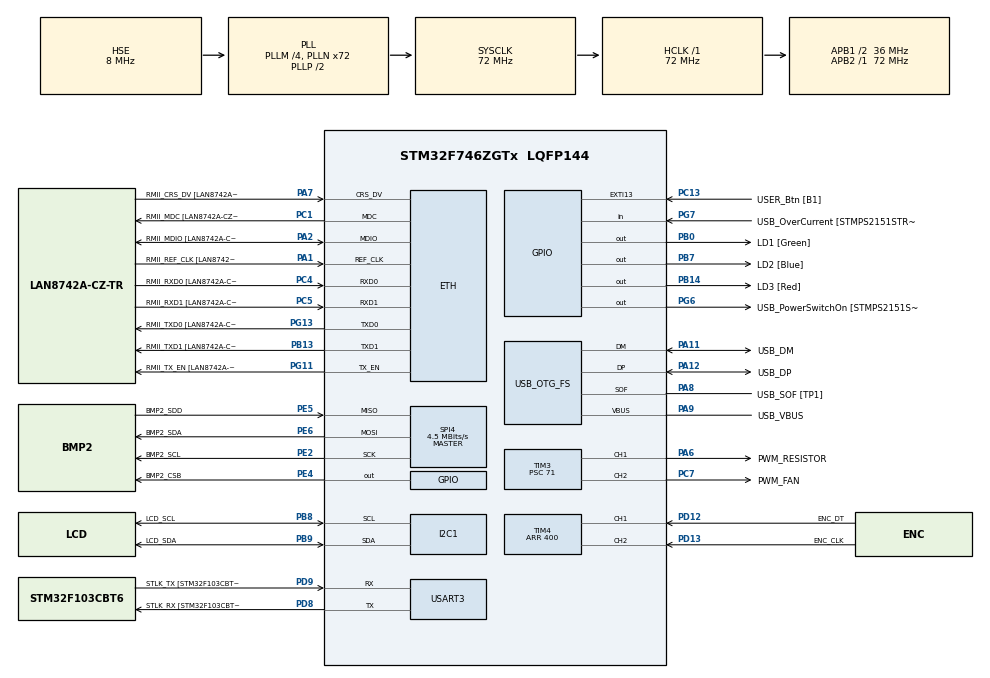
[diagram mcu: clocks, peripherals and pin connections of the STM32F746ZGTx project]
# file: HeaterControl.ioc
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ETH.MediaInterface=HAL_ETH_RMII_MODE
ETH.PHY_Name=LAN8742A_PHY_ADDRESS
ETH.PHY_Value=0
ETH.PhyAddress=0
I2C1.Timing=0x00808CD2
Mcu.Family=STM32F7
Mcu.Name=STM32F746ZGTx
Mcu.Package=LQFP144
NVIC.PriorityGroup=NVIC_PRIORITYGROUP_4
NVIC.TIM2_IRQn=true\:0\:0\:false\:false\:true\:true\:true\:true
NVIC.TIM4_IRQn=true\:0\:0\:false\:false\:true\:true\:true\:true
NVIC.TIM5_IRQn=true\:0\:0\:false\:false\:true\:true\:true\:true
NVIC.USART3_IRQn=true\:0\:0\:false\:false\:true\:true\:true\:true
PA1.GPIO_Label=RMII_REF_CLK [LAN8742A-CZ-TR_REFCLK0]
PA1.Mode=RMII
PA1.Signal=ETH_REF_CLK
PA10.GPIO_Label=USB_ID
PA10.Signal=USB_OTG_FS_ID
PA11.GPIO_Label=USB_DM
PA11.Mode=Device_Only
PA11.Signal=USB_OTG_FS_DM
PA12.GPIO_Label=USB_DP
PA12.Mode=Device_Only
PA12.Signal=USB_OTG_FS_DP
PA13.GPIO_Label=TMS
PA13.Mode=Serial_Wire
PA13.Signal=SYS_JTMS-SWDIO
PA14.GPIO_Label=TCK
PA14.Mode=Serial_Wire
PA14.Signal=SYS_JTCK-SWCLK
PA2.GPIO_Label=RMII_MDIO [LAN8742A-CZ-TR_MDIO]
PA2.Mode=RMII
PA2.Signal=ETH_MDIO
PA6.GPIO_Label=PWM_RESISTOR
PA6.Signal=S_TIM3_CH1
PA7.GPIO_Label=RMII_CRS_DV [LAN8742A-CZ-TR_CRS_DV]
PA7.Mode=RMII
PA7.Signal=ETH_CRS_DV
PA8.GPIO_Label=USB_SOF [TP1]
PA8.Mode=Activate_SOF_FS
PA8.Signal=USB_OTG_FS_SOF
PA9.GPIO_Label=USB_VBUS
PA9.Mode=Activate_VBUS
PA9.Signal=USB_OTG_FS_VBUS
PB0.GPIO_Label=LD1 [Green]
PB0.Signal=GPIO_Output
PB13.GPIO_Label=RMII_TXD1 [LAN8742A-CZ-TR_TXD1]
PB13.Mode=RMII
PB13.Signal=ETH_TXD1
PB14.GPIO_Label=LD3 [Red]
PB14.Signal=GPIO_Output
PB3.GPIO_Label=SW0
PB3.Signal=SYS_JTDO-SWO
PB7.GPIO_Label=LD2 [Blue]
PB7.Signal=GPIO_Output
PB8.GPIO_Label=LCD_SCL
PB8.Mode=I2C
PB8.Signal=I2C1_SCL
PB9.GPIO_Label=LCD_SDA
PB9.Mode=I2C
PB9.Signal=I2C1_SDA
PC1.GPIO_Label=RMII_MDC [LAN8742A-CZ-TR_MDC]
PC1.Mode=RMII
PC1.Signal=ETH_MDC
PC13.GPIO_Label=USER_Btn [B1]
PC13.Signal=GPXTI13
PC14/OSC32_IN.Mode=LSE-External-Oscillator
PC14/OSC32_IN.Signal=RCC_OSC32_IN
PC15/OSC32_OUT.Mode=LSE-External-Oscillator
PC15/OSC32_OUT.Signal=RCC_OSC32_OUT
PC4.GPIO_Label=RMII_RXD0 [LAN8742A-CZ-TR_RXD0]
PC4.Mode=RMII
PC4.Signal=ETH_RXD0
PC5.GPIO_Label=RMII_RXD1 [LAN8742A-CZ-TR_RXD1]
PC5.Mode=RMII
PC5.Signal=ETH_RXD1
PC7.GPIO_Label=PWM_FAN
PC7.Signal=S_TIM3_CH2
PD12.GPIO_Label=ENC_DT
PD12.Signal=S_TIM4_CH1
PD13.GPIO_Label=ENC_CLK
PD13.Signal=S_TIM4_CH2
PD8.GPIO_Label=STLK_RX [STM32F103CBT6_PA3]
PD8.GPIO_PuPd=GPIO_PULLUP
PD8.Mode=Asynchronous
PD8.Signal=USART3_TX
PD9.GPIO_Label=STLK_TX [STM32F103CBT6_PA2]
PD9.GPIO_PuPd=GPIO_PULLUP
PD9.Mode=Asynchronous
PD9.Signal=USART3_RX
PE2.GPIO_Label=BMP2_SCL
PE2.Mode=Full_Duplex_Master
PE2.Signal=SPI4_SCK
PE4.GPIO_Label=BMP2_CSB
PE4.Signal=GPIO_Output
PE5.GPIO_Label=BMP2_SDD
PE5.Mode=Full_Duplex_Master
PE5.Signal=SPI4_MISO
PE6.GPIO_Label=BMP2_SDA
PE6.Mode=Full_Duplex_Master
PE6.Signal=SPI4_MOSI
PG11.GPIO_Label=RMII_TX_EN [LAN8742A-CZ-TR_TXEN]
PG11.Mode=RMII
PG11.Signal=ETH_TX_EN
PG13.GPIO_Label=RMII_TXD0 [LAN8742A-CZ-TR_TXD0]
PG13.Mode=RMII
PG13.Signal=ETH_TXD0
PG6.GPIO_Label=USB_PowerSwitchOn [STMPS2151STR_EN]
PG6.Signal=GPIO_Output
PG7.GPIO_Label=USB_OverCurrent [STMPS2151STR_FAULT]
PG7.Signal=GPIO_Input
PH0/OSC_IN.GPIO_Label=MCO [STM32F103CBT6_PA8]
PH0/OSC_IN.Mode=HSE-External-Clock-Source
PH0/OSC_IN.Signal=RCC_OSC_IN
PH1/OSC_OUT.Mode=HSE-External-Clock-Source
PH1/OSC_OUT.Signal=RCC_OSC_OUT
ProjectManager.HeapSize=0x200
ProjectManager.StackSize=0x400
ProjectManager.TargetToolchain=CMake
RCC.48MHZClocksFreq_Value=24000000
RCC.AHBFreq_Value=72000000
RCC.APB1CLKDivider=RCC_HCLK_DIV2
RCC.APB1Freq_Value=36000000
RCC.APB1TimFreq_Value=72000000
RCC.APB2Freq_Value=72000000
RCC.APB2TimFreq_Value=72000000
RCC.CortexFreq_Value=72000000
RCC.HCLKFreq_Value=72000000
RCC.HSE_VALUE=8000000
RCC.HSI_VALUE=16000000
RCC.PLLM=4
RCC.PLLMUL=RCC_PLL_MUL9
RCC.PLLN=72
RCC.PLLQ=3
RCC.PRESCALERUSB=RCC_USBCLKSOURCE_PLL_DIV1_5
RCC.SYSCLKFreq_VALUE=72000000
RCC.SYSCLKSource=RCC_SYSCLKSOURCE_PLLCLK
RCC.SYSCLKSourceVirtual=RCC_SYSCLKSOURCE_PLLCLK
RCC.USBFreq_Value=48000000
RCC.VCOOutputFreq_Value=144000000
SH.S_TIM3_CH1.0=TIM3_CH1,PWM Generation1 CH1
SH.S_TIM3_CH2.0=TIM3_CH2,PWM Generation2 CH2
SH.S_TIM4_CH1.0=TIM4_CH1,Encoder_Interface
SH.S_TIM4_CH2.0=TIM4_CH2,Encoder_Interface
SPI4.BaudRatePrescaler=SPI_BAUDRATEPRESCALER_16
SPI4.CLKPhase=SPI_PHASE_2EDGE
SPI4.CLKPolarity=SPI_POLARITY_HIGH
SPI4.CalculateBaudRate=4.5 MBits/s
SPI4.DataSize=SPI_DATASIZE_8BIT
SPI4.Direction=SPI_DIRECTION_2LINES
SPI4.Mode=SPI_MODE_MASTER
SPI4.VirtualType=VM_MASTER
TIM2.Period=24999
TIM2.Prescaler=1079
TIM3.AutoReloadPreload=TIM_AUTORELOAD_PRELOAD_ENABLE
TIM3.Channel-PWM\ Generation1\ CH1=TIM_CHANNEL_1
TIM3.Channel-PWM\ Generation2\ CH2=TIM_CHANNEL_2
TIM3.Period=999
TIM3.Prescaler=71
TIM4.EncoderMode=TIM_ENCODERMODE_TI12
TIM4.IC1Filter=15
TIM4.IC1Polarity=TIM_ICPOLARITY_FALLING
TIM4.IC2Filter=15
TIM4.IC2Polarity=TIM_ICPOLARITY_FALLING
TIM4.Period=400
TIM5.Period=1999
TIM5.Prescaler=7199
USART3.VirtualMode-Asynchronous=VM_ASYNC
USB_OTG_FS.VirtualMode=Device_Only
VP_TIM2_VS_ClockSourceINT.Mode=Internal
VP_TIM5_VS_ClockSourceINT.Mode=Internal
board=NUCLEO-F746ZG

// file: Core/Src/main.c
/* USER CODE BEGIN Header */
/**
 ******************************************************************************
 * @file           : main.c
 * @brief          : Main program body
 ******************************************************************************
 * @attention
 *
 * Copyright (c) 2025 STMicroelectronics.
 * All rights reserved.
 *
 * This software is licensed under terms that can be found in the LICENSE file
 * in the root directory of this software component.
 * If no LICENSE file comes with this software, it is provided AS-IS.
 *
 ******************************************************************************
 */
/* USER CODE END Header */
#include "main.h"
#include "eth.h"
#include "i2c.h"
#include "spi.h"
#include "tim.h"
#include "usart.h"
#include "usb_otg.h"
#include "gpio.h"

/* USER CODE BEGIN Includes */
#include "pwm_devices_config.h"
#include "bmp2_config.h"
#include "pid_config.h"
#include <stdio.h>
#include "command_parser.h"
#include "led_config.h"
#include "encoder_config.h"
#include "i2c_lcd.h"
/* USER CODE END Includes */

/* USER CODE BEGIN PD */
#define PRECISION 1000
#define TRANSMIT_TIMEOUT 100
#define ENCODER_RESOLUTION 1
/* USER CODE END PD */

/* USER CODE BEGIN PV */
uint16_t response_len = 0;
uint8_t response_buffer[128];
uint8_t tx_buffer[12];
char lcd_buffer[2][16];
int tmp_int = 0;

float setpoint = 30;

double temp;
uint32_t prev_counter;
/* USER CODE END PV */

void SystemClock_Config(void);

/* USER CODE BEGIN 0 */
void HAL_TIM_IC_CaptureCallback(TIM_HandleTypeDef *htim)
{
  if (htim == &htim4)
  {
    uint32_t counter = ENC_GetCounter(&henc1);
    // logic is flipped to have right movement incrementE
    if (prev_counter == 100 && counter == 0)
      setpoint--;
    if (prev_counter == 0 && counter == 100)
      setpoint++;
    if (prev_counter < counter)
      setpoint--;
    if (prev_counter > counter)
      setpoint++;

    if (counter != prev_counter)
    {
      tmp_int = PRECISION * setpoint;
      response_len = sprintf((char *)response_buffer, "Setpoint: %2u.%03u\r\n", tmp_int / PRECISION, tmp_int % PRECISION);
      HAL_UART_Transmit(&huart3, response_buffer, response_len, 100);
      prev_counter = counter;
    }
  }
}

void HAL_TIM_PeriodElapsedCallback(TIM_HandleTypeDef *htim)
{
  if (htim == &htim5)
  {
    if (BMP2_ReadData(&bmp2dev, NULL, &temp) < 0)
      response_len = sprintf((char *)response_buffer, "Failed to read sensor\r\n");
    else
    {
      tmp_int = PRECISION * temp;
      response_len = sprintf((char *)response_buffer, "Temperature: %2u.%03u\r\n", tmp_int / PRECISION, tmp_int % PRECISION);
    }
    LED_DIO_On(&led_green);
    HAL_UART_Transmit(&huart3, response_buffer, response_len, TRANSMIT_TIMEOUT);
    LED_DIO_Off(&led_green);
    if (pid.state == PID_AUTO)
    {
      float error = setpoint - temp;
      float signal = PID_calulate_signal(&pid, error);
      if (signal > 0)
      {
        PWM_DEVICE_PWM_WriteDuty(&heater, signal * 100.0 / pid.abs_max_signal);
        PWM_DEVICE_PWM_WriteDuty(&cooler, 0);
      }
      else
      {
        PWM_DEVICE_PWM_WriteDuty(&cooler, -1 * signal * 100.0 / pid.abs_max_signal);
        PWM_DEVICE_PWM_WriteDuty(&heater, 0);
      }
      char sign = '+';
      if (signal < 0)
      {
        signal *= -1;
        sign = '-';
      }
      tmp_int = PRECISION * signal;
      response_len = sprintf((char *)response_buffer, "Signal: %c %2u.%03u\r\n", sign, tmp_int / PRECISION, tmp_int % PRECISION);
    }
    LED_DIO_On(&led_green);
    HAL_UART_Transmit(&huart3, response_buffer, response_len, TRANSMIT_TIMEOUT);
    LED_DIO_Off(&led_green);
  }
}

// Recive UART communication
void HAL_UART_RxCpltCallback(UART_HandleTypeDef *huart)
{
  if (huart == &huart3)
  {
    Command_TypeDef command = parse_commmand(tx_buffer, sizeof(tx_buffer));
    switch (command.type)
    {
    case BAD_ARG:
      response_len = sprintf((char *)response_buffer, "Złe polecenie \"%.8s\"\r\n", tx_buffer);
      break;
    case READ_TEMPERATURE:
      tmp_int = PRECISION * temp;
      response_len = sprintf((char *)response_buffer, "Temperature: %2u.%03u\r\n", tmp_int / PRECISION, tmp_int % PRECISION);
      break;
    case READ_FAN_PWM:
      tmp_int = PRECISION * PWM_DEVICE_PWM_ReadDuty(&cooler);
      response_len = sprintf((char *)response_buffer, "Fan duty: %2u.%03u\r\n", tmp_int / PRECISION, tmp_int % PRECISION);
      break;
    case READ_RESISTOR_PWM:
      tmp_int = PRECISION * PWM_DEVICE_PWM_ReadDuty(&heater);
      response_len = sprintf((char *)response_buffer, "Resistor duty: %2u.%03u\r\n", tmp_int / PRECISION, tmp_int % PRECISION);
      break;
    case READ_SETPOINT:
      tmp_int = PRECISION * setpoint;
      response_len = sprintf((char *)response_buffer, "Setpoint: %2u.%03u\r\n", tmp_int / PRECISION, tmp_int % PRECISION);
      break;
    case WRITE_FAN_PWM:
      tmp_int = PRECISION * command.value;
      response_len = sprintf((char *)response_buffer, "Fan duty set to: %2u.%03u\r\n", tmp_int / PRECISION, tmp_int % PRECISION);
      PWM_DEVICE_PWM_WriteDuty(&cooler, command.value);
      break;
    case WRITE_RESISTOR_PWM:
      tmp_int = PRECISION * command.value;
      response_len = sprintf((char *)response_buffer, "Resistor duty set to: %2u.%03u\r\n", tmp_int / PRECISION, tmp_int % PRECISION);
      PWM_DEVICE_PWM_WriteDuty(&heater, command.value);
      break;
    case WRITE_SETPOINT:
      tmp_int = PRECISION * command.value;
      response_len = sprintf((char *)response_buffer, "Setpoint set to: %2u.%03u\r\n", tmp_int / PRECISION, tmp_int % PRECISION);
      setpoint = command.value;
      break;
    case WRITE_PID_STATE:
      response_len = sprintf((char *)response_buffer, "PID state changed to: %2d\r\n", command.value ? PID_AUTO : PID_MANUAL);
      pid.state = command.value ? PID_AUTO : PID_MANUAL;
      break;
    default:
      response_len = sprintf((char *)response_buffer, "Reached Unreachable! Did you forget something?\r\n");
      break;
    }
    LED_DIO_On(&led_green);
    HAL_UART_Transmit(&huart3, response_buffer, response_len, TRANSMIT_TIMEOUT);
    LED_DIO_Off(&led_green);

    HAL_UART_Receive_IT(&huart3, tx_buffer, sizeof(tx_buffer));
  }
}
/* USER CODE END 0 */

int main(void)
{

  /* MCU Configuration--------------------------------------------------------*/

  /* Reset of all peripherals, Initializes the Flash interface and the Systick. */
  HAL_Init();

  /* Configure the system clock */
  SystemClock_Config();

  /* Initialize all configured peripherals */
  MX_GPIO_Init();
  MX_ETH_Init();
  MX_I2C1_Init();
  MX_USART3_UART_Init();
  MX_USB_OTG_FS_PCD_Init();
  MX_SPI4_Init();
  MX_TIM2_Init();
  MX_TIM3_Init();
  MX_TIM4_Init();
  MX_TIM5_Init();
  /* USER CODE BEGIN 2 */
  BMP2_Init(&bmp2dev);
  HAL_TIM_Base_Start_IT(&htim2);
  HAL_TIM_Encoder_Start_IT(&htim4, TIM_CHANNEL_ALL);
  HAL_TIM_Base_Start_IT(&htim5);
  PWM_DEVICE_PWM_Init(&heater);
  PWM_DEVICE_PWM_Init(&cooler);
  ENC_Init(&henc1);
  HAL_UART_Receive_IT(&huart3, tx_buffer, sizeof(tx_buffer));
  lcd_init();
  lcd_clear();
  /* USER CODE END 2 */

  /* Infinite loop */
  /* USER CODE BEGIN WHILE */
  while (1)
  {
    LED_DIO_Write(&led_red, (LED_DIO_State_TypeDef)PWM_DEVICE_PWM_ReadDuty(&heater) > 0);
    LED_DIO_Write(&led_blue, (LED_DIO_State_TypeDef)PWM_DEVICE_PWM_ReadDuty(&cooler) > 0);
    tmp_int = PRECISION * setpoint;
    sprintf((char *)lcd_buffer[0], "Setpoint: %2u.%02u", tmp_int / PRECISION, tmp_int % PRECISION);
    tmp_int = PRECISION * temp;
    sprintf((char *)lcd_buffer[1], "Temp: %2u.%03u", tmp_int / PRECISION, tmp_int % PRECISION);
    lcd_send_string_frame(lcd_buffer);
    /* USER CODE END WHILE */

  }
}

void SystemClock_Config(void)
{
  RCC_OscInitTypeDef RCC_OscInitStruct = {0};
  RCC_ClkInitTypeDef RCC_ClkInitStruct = {0};

  /** Configure LSE Drive Capability
   */
  HAL_PWR_EnableBkUpAccess();

  /** Configure the main internal regulator output voltage
   */
  __HAL_RCC_PWR_CLK_ENABLE();
  __HAL_PWR_VOLTAGESCALING_CONFIG(PWR_REGULATOR_VOLTAGE_SCALE3);

  /** Initializes the RCC Oscillators according to the specified parameters
   * in the RCC_OscInitTypeDef structure.
   */
  RCC_OscInitStruct.OscillatorType = RCC_OSCILLATORTYPE_HSE;
  RCC_OscInitStruct.HSEState = RCC_HSE_BYPASS;
  RCC_OscInitStruct.PLL.PLLState = RCC_PLL_ON;
  RCC_OscInitStruct.PLL.PLLSource = RCC_PLLSOURCE_HSE;
  RCC_OscInitStruct.PLL.PLLM = 4;
  RCC_OscInitStruct.PLL.PLLN = 72;
  RCC_OscInitStruct.PLL.PLLP = RCC_PLLP_DIV2;
  RCC_OscInitStruct.PLL.PLLQ = 3;
  if (HAL_RCC_OscConfig(&RCC_OscInitStruct) != HAL_OK)
  {
    Error_Handler();
  }

  /** Initializes the CPU, AHB and APB buses clocks
   */
  RCC_ClkInitStruct.ClockType = RCC_CLOCKTYPE_HCLK | RCC_CLOCKTYPE_SYSCLK | RCC_CLOCKTYPE_PCLK1 | RCC_CLOCKTYPE_PCLK2;
  RCC_ClkInitStruct.SYSCLKSource = RCC_SYSCLKSOURCE_PLLCLK;
  RCC_ClkInitStruct.AHBCLKDivider = RCC_SYSCLK_DIV1;
  RCC_ClkInitStruct.APB1CLKDivider = RCC_HCLK_DIV2;
  RCC_ClkInitStruct.APB2CLKDivider = RCC_HCLK_DIV1;

  if (HAL_RCC_ClockConfig(&RCC_ClkInitStruct, FLASH_LATENCY_2) != HAL_OK)
  {
    Error_Handler();
  }
}

void Error_Handler(void)
{
  __disable_irq();
  while (1)
  {
  }
}
